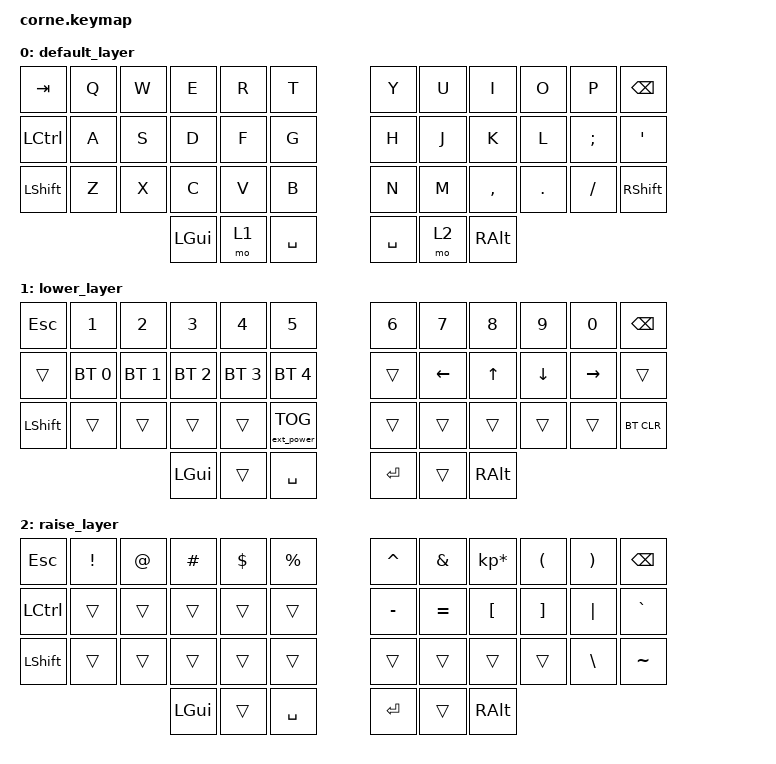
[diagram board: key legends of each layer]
/*
 * Copyright (c) 2020 The ZMK Contributors
 *
 * SPDX-License-Identifier: MIT
 */

#include <behaviors.dtsi>
#include <dt-bindings/zmk/keys.h>
#include <dt-bindings/zmk/bt.h>
#include <dt-bindings/zmk/ext_power.h>

/ {
        keymap {
                compatible = "zmk,keymap";

                default_layer {
// -----------------------------------------------------------------------------------------
// |  TAB |  Q  |  W  |  E  |  R  |  T  |   |  Y  |  U   |  I  |  O  |  P  | BKSP |
// | CTRL |  A  |  S  |  D  |  F  |  G  |   |  H  |  J   |  K  |  L  |  ;  |  '   |
// | SHFT |  Z  |  X  |  C  |  V  |  B  |   |  N  |  M   |  ,  |  .  |  /  | SHFT |
//                    | GUI | LWR | SPC |   | SPC | RSE  | ALT |
                        bindings = <
   &kp TAB   &kp Q &kp W &kp E &kp R &kp T   &kp Y &kp U  &kp I     &kp O   &kp P    &kp BSPC
   &kp LCTRL &kp A &kp S &kp D &kp F &kp G   &kp H &kp J  &kp K     &kp L   &kp SEMI &kp SQT
   &kp LSHFT &kp Z &kp X &kp C &kp V &kp B   &kp N &kp M  &kp COMMA &kp DOT &kp FSLH &kp RSHFT
                  &kp LGUI &mo 1 &kp SPACE   &kp SPACE &mo 2 &kp RALT
                        >;
                };
                lower_layer {
// -----------------------------------------------------------------------------------------
// |  ESC |  1  |  2  |  3  |  4  |  5  |   |  6  |  7  |  8  |  9  |  0  | BKSP |
// |      | BT1 | BT2 | BT3 | BT4 | BT5 |   |     | LFT | UP  | DWN | RGT |EP_TOG|
// | SHFT |     |     |     |     |     |   |     |     |     |     |     | BTCLR|
//                    | GUI |     | SPC |   | ENT |     | ALT |
                        bindings = <
   &kp ESC    &kp N1       &kp N2       &kp N3       &kp N4       &kp N5            &kp N6   &kp N7   &kp N8 &kp N9    &kp N0 &kp BSPC
   &trans &bt BT_SEL 0 &bt BT_SEL 1 &bt BT_SEL 2 &bt BT_SEL 3 &bt BT_SEL 4          &trans &kp LEFT &kp UP &kp DOWN &kp RIGHT &trans
   &kp LSHFT  &trans       &trans       &trans       &trans       &ext_power EP_TOG            &trans   &trans   &trans &trans    &trans &bt BT_CLR
                                        &kp LGUI     &trans       &kp SPACE         &kp RET &trans &kp RALT
                        >;
                };

                raise_layer {
// -----------------------------------------------------------------------------------------
// |  ESC |  !  |  @  |  #  |  $  |  %  |   |  ^  |  &  |  *  |  (  |  )  | BKSP |
// | CTRL |     |     |     |     |     |   |  -  |  =  |  {  |  }  | "|" |  `   |
// | SHFT |     |     |     |     |     |   |  _  |  +  |  [  |  ]  |  \  |  ~   | // TODO: Fix this row when &mkp is committed
//                    | GUI |     | SPC |   | ENT |     | ALT |
                        bindings = <
   &kp  ESC  &kp EXCL  &kp AT  &kp HASH  &kp DLLR  &kp PRCNT   &kp CARET &kp AMPS  &kp KP_MULTIPLY &kp LPAR &kp RPAR &kp BSPC
   &kp LCTRL &trans    &trans  &trans    &trans    &trans      &kp MINUS &kp EQUAL &kp LBKT        &kp RBKT &kp PIPE &kp GRAVE
   &kp LSHFT &trans    &trans  &trans    &trans    &trans      &trans    &trans    &trans          &trans   &kp BSLH &kp TILDE
                                   &kp LGUI &trans &kp SPACE   &kp RET &trans &kp RALT
                        >;
                };
        };
};
